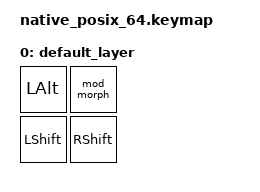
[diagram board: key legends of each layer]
#include <dt-bindings/zmk/keys.h>
#include <behaviors.dtsi>
#include <dt-bindings/zmk/kscan_mock.h>


&kscan {
	events = <
        /* A */
		ZMK_MOCK_PRESS(0,1,10)
		ZMK_MOCK_RELEASE(0,1,10)

        /* LSFT + B */
		ZMK_MOCK_PRESS(1,0,10)
		ZMK_MOCK_PRESS(0,1,10)
		ZMK_MOCK_RELEASE(0,1,10)
		ZMK_MOCK_RELEASE(1,0,10)

        /* LALT + A */
		ZMK_MOCK_PRESS(0,0,10)
		ZMK_MOCK_PRESS(0,1,10)
		ZMK_MOCK_RELEASE(0,1,10)
		ZMK_MOCK_RELEASE(0,0,10)

        /* LALT + LSFT + B */
		ZMK_MOCK_PRESS(0,0,10)
		ZMK_MOCK_PRESS(1,0,10)
		ZMK_MOCK_PRESS(0,1,10)
		ZMK_MOCK_RELEASE(0,1,10)
		ZMK_MOCK_RELEASE(1,0,10)
		ZMK_MOCK_RELEASE(0,0,10)
	>;
};

/ {
    behaviors {
        mod_morph: mod_morph {
            compatible = "zmk,behavior-mod-morph";
            label = "MOD_MORPH_TEST";
            #binding-cells = <0>;
            bindings = <&kp A>, <&kp B>;
            mods = <(MOD_LSFT|MOD_RSFT)>;
            masked_mods = <0>;
        };
    };

	keymap {
		compatible = "zmk,keymap";
		label ="Default keymap";

		default_layer {
			bindings = <
				&kp LEFT_ALT &mod_morph
				&kp LEFT_SHIFT &kp RIGHT_SHIFT
			>;
		};
	};
};
